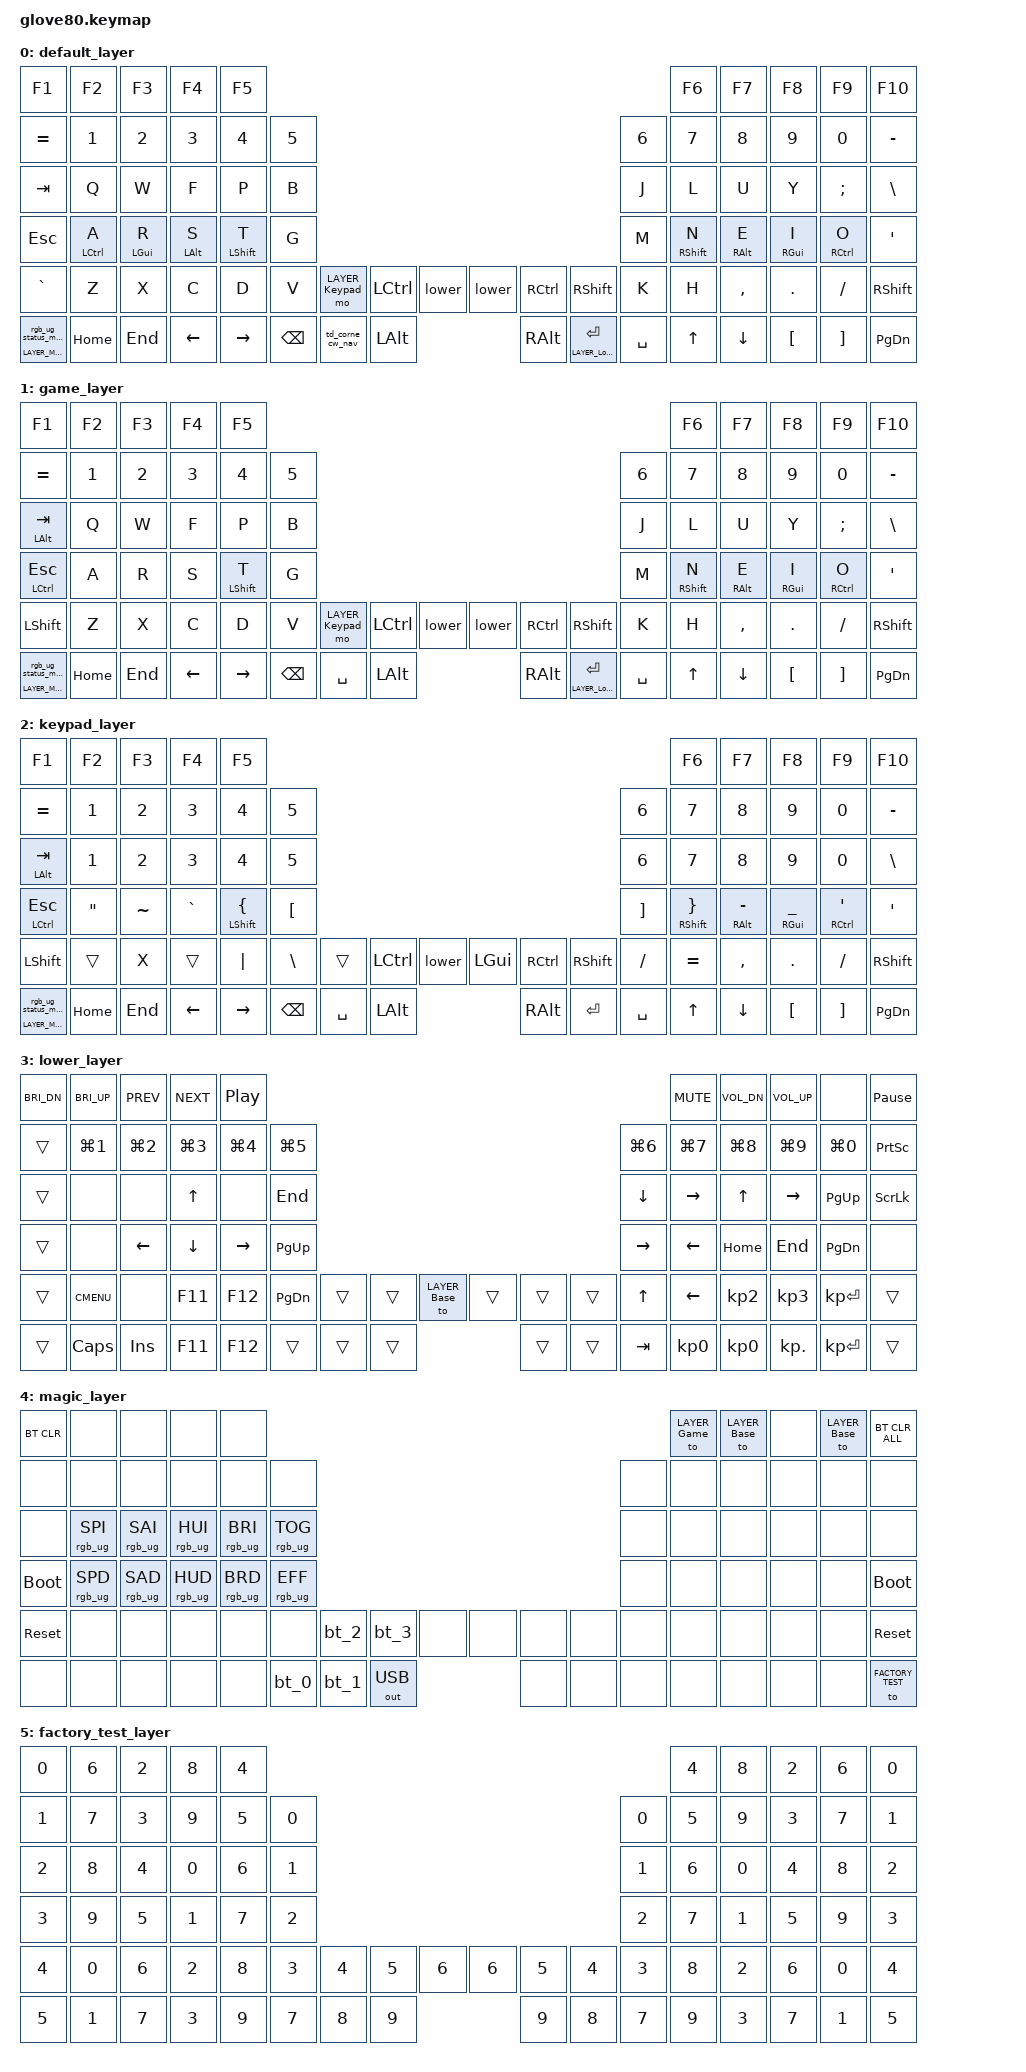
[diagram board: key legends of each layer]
/*
 * Copyright (c) 2020 The ZMK Contributors
 *
 * SPDX-License-Identifier: MIT
 */

#include <behaviors.dtsi>
#include <dt-bindings/zmk/keys.h>
#include <dt-bindings/zmk/bt.h>
#include <dt-bindings/zmk/ext_power.h>
#include <dt-bindings/zmk/outputs.h>
#include <dt-bindings/zmk/rgb.h>

#define HYPER LC(LS(LG(LALT)))

#pragma once

#define ZMK_HELPER_STRINGIFY(x) #x

// Preprocessor mechanism to overload macros, cf. https://stackoverflow.com/a/27051616/6114651
#define VARGS_(_10, _9, _8, _7, _6, _5, _4, _3, _2, _1, N, ...) N
#define VARGS(...) VARGS_(__VA_ARGS__, 10, 9, 8, 7, 6, 5, 4, 3, 2, 1, 0)
#define CONCAT_(a, b) a##b
#define CONCAT(a, b) CONCAT_(a, b)

#define ZMK_BEHAVIOR_CORE_tap_dance  \
    compatible = "zmk,behavior-tap-dance"; \
    #binding-cells = <0>

#define ZMK_BEHAVIOR(name, type, ...) \
    name: name { \
        ZMK_BEHAVIOR_CORE_ ## type; \
        __VA_ARGS__ \
    };

#define ZMK_TAP_DANCE(name, ...) \
    ZMK_BEHAVIOR(name, tap_dance, __VA_ARGS__)

#define ZMK_TD_LAYER(name, layer) \
    ZMK_TAP_DANCE(name, \
        tapping-term-ms = <200>; \
        bindings = <&mo layer>, <&to layer>; \
)

/* Environment and metadata defines */
#define KB_TYPE_GLOVE_80 1
#define KB_TYPE_GO_60    2

#define KB_TYPE          KB_TYPE_GLOVE_80
#define EDITOR_HOST_OS   'L'

/* Automatically generated layer name defines */
#define LAYER_Base 0
#define LAYER_Game 1
#define LAYER_Keypad 2
#define LAYER_Lower 3
#define LAYER_Magic 4
#define FACTORY_TEST 5
/* To deal with the situation where there is no Lower layer, to keep &lower happy */
#ifndef LAYER_Lower
#define LAYER_Lower 0
#endif

/* Custom Device-tree */


/* Input Listeners */


/* System behavior and Macros */
/ {
    behaviors {
        ZMK_TD_LAYER(lower, LAYER_Lower)
    };
};

/ {
    macros {
        rgb_ug_status_macro: rgb_ug_status_macro {
            label = "RGB_UG_STATUS";
            compatible = "zmk,behavior-macro";
            #binding-cells = <0>;
            bindings
                = <&rgb_ug RGB_STATUS>;
        };
    };
};

#define TD_HM_TAP_TERM       195
#define TD_Z_TAP_TERM        250
#define HM_TAP_TERM          180
#define HM_TAP_2_TERM        190
#define HM_TAP_3_TERM        190
#define HM_TAP_4_TERM        200
#define HM_TAP_5_TERM        250
#define HM_QUICK_TAP_TERM    150
#define HM_QUICK_TAP_2_TERM  150
#define HM_QUICK_TAP_3_TERM  150
#define HM_QUICK_TAP_4_TERM  150
#define HM_QUICK_TAP_5_TERM  150
#define HM_REQUIRE_IDLE_MS   125
#define HM_REQUIRE_IDLE_2_MS 125
#define HM_REQUIRE_IDLE_3_MS 125
#define HM_REQUIRE_IDLE_4_MS 125
#define HM_REQUIRE_IDLE_5_MS 125
#define HM_REQUIRE_IDLE_MS 125
#define TD_CW_TAP_TERM     190
#define LT_TAPPING_TERM    100

/ {
    behaviors {
        // For the "layer" key, it'd nice to be able to use it as either a shift or a toggle.
        // Configure it as a tap dance, so the first tap (or hold) is a &mo and the second tap is a &to
        layer_td: tap_dance_0 {
            compatible = "zmk,behavior-tap-dance";
            label = "LAYER_TAP_DANCE";
            #binding-cells = <0>;
            tapping-term-ms = <200>;
            bindings = <&mo LAYER_Lower>, <&to LAYER_Lower>;
        };

        magic: magic_hold_tap {
            compatible = "zmk,behavior-hold-tap";
            label = "MAGIC_HOLD_TAP";
            #binding-cells = <2>;
            flavor = "tap-preferred";
            tapping-term-ms = <200>;
            bindings = <&mo>, <&rgb_ug_status_macro>;
        };
    };

        hm: homerow_mods {
            compatible = "zmk,behavior-hold-tap";
            label = "HOMEROW_MODS";
            #binding-cells = <2>;
            tapping-term-ms = <HM_TAP_TERM>;
            quick_tap_ms = <HM_QUICK_TAP_TERM>;
            require-prior-idle-ms = <HM_REQUIRE_IDLE_MS>;
            flavor = "balanced";
            bindings = <&kp>, <&kp>;
        };
/* TODO: Fix to work with Glove80
        hml2: homerow_mods_l_2 {
            compatible = "zmk,behavior-hold-tap";
            #binding-cells = <2>;
            tapping-term-ms = <HM_TAP_2_TERM>;
            quick-tap-ms = <HM_QUICK_TAP_2_TERM>;
            require-prior-idle-ms = <HM_REQUIRE_IDLE_2_MS>;
            flavor = "balanced";
            bindings = <&kp>, <&kp>;
            hold-trigger-key-positions = <KEYS_L THUMBS>;
            hold-trigger-on-release;
        };

        hml3: homerow_mods_l_3 {
            compatible = "zmk,behavior-hold-tap";
            #binding-cells = <2>;
            tapping-term-ms = <HM_TAP_3_TERM>;
            quick-tap-ms = <HM_QUICK_TAP_3_TERM>;
            require-prior-idle-ms = <HM_REQUIRE_IDLE_3_MS>;
            flavor = "balanced";
            bindings = <&kp>, <&kp>;
            hold-trigger-key-positions = <KEYS_L THUMBS>;
            hold-trigger-on-release;
        };

        hml4: homerow_mods_l_4 {
            compatible = "zmk,behavior-hold-tap";
            #binding-cells = <2>;
            tapping-term-ms = <HM_TAP_4_TERM>;
            quick-tap-ms = <HM_QUICK_TAP_4_TERM>;
            require-prior-idle-ms = <HM_REQUIRE_IDLE_4_MS>;
            flavor = "balanced";
            bindings = <&kp>, <&kp>;
            hold-trigger-key-positions = <KEYS_L THUMBS>;
            hold-trigger-on-release;
        };

        hml5: homerow_mods_l_5 {
            compatible = "zmk,behavior-hold-tap";
            #binding-cells = <2>;
            tapping-term-ms = <HM_TAP_5_TERM>;
            quick-tap-ms = <HM_QUICK_TAP_5_TERM>;
            require-prior-idle-ms = <HM_REQUIRE_IDLE_5_MS>;
            flavor = "balanced";
            bindings = <&kp>, <&kp>;
            hold-trigger-key-positions = <KEYS_L THUMBS>;
            hold-trigger-on-release;
        };
        
        hmr2: homerow_mods_r_2 {
            compatible = "zmk,behavior-hold-tap";
            #binding-cells = <2>;
            tapping-term-ms = <HM_TAP_2_TERM>;
            quick-tap-ms = <HM_QUICK_TAP_2_TERM>;
            require-prior-idle-ms = <HM_REQUIRE_IDLE_2_MS>;
            flavor = "balanced";
            bindings = <&kp>, <&kp>;
            hold-trigger-key-positions = <KEYS_R THUMBS>;
            hold-trigger-on-release;
        };

        hmr3: homerow_mods_r_3 {
            compatible = "zmk,behavior-hold-tap";
            #binding-cells = <2>;
            tapping-term-ms = <HM_TAP_3_TERM>;
            quick-tap-ms = <HM_QUICK_TAP_3_TERM>;
            require-prior-idle-ms = <HM_REQUIRE_IDLE_3_MS>;
            flavor = "balanced";
            bindings = <&kp>, <&kp>;
            hold-trigger-key-positions = <KEYS_R THUMBS>;
            hold-trigger-on-release;
        };

        hmr4: homerow_mods_r_4 {
            compatible = "zmk,behavior-hold-tap";
            #binding-cells = <2>;
            tapping-term-ms = <HM_TAP_4_TERM>;
            quick-tap-ms = <HM_QUICK_TAP_4_TERM>;
            require-prior-idle-ms = <HM_REQUIRE_IDLE_4_MS>;
            flavor = "balanced";
            bindings = <&kp>, <&kp>;
            hold-trigger-key-positions = <KEYS_R THUMBS>;
            hold-trigger-on-release;
        };

        hmr5: homerow_mods_r_5 {
            compatible = "zmk,behavior-hold-tap";
            #binding-cells = <2>;
            tapping-term-ms = <HM_TAP_5_TERM>;
            quick-tap-ms = <HM_QUICK_TAP_5_TERM>;
            require-prior-idle-ms = <HM_REQUIRE_IDLE_5_MS>;
            flavor = "balanced";
            bindings = <&kp>, <&kp>;
            hold-trigger-key-positions = <KEYS_R THUMBS>;
            hold-trigger-on-release;
        };
*/
        td_hm_a: tap_dance_hm_a_lctrl {
            compatible = "zmk,behavior-tap-dance";
            #binding-cells = <0>;
            tapping-term-ms = <TD_HM_TAP_TERM>;
            bindings = <&hm LCTRL A>, <&kp LC(A)>;
        };

        td_hm_j: tap_dance_hm_j_shift {
            compatible = "zmk,behavior-tap-dance";
            #binding-cells = <0>;
            tapping-term-ms = <TD_HM_TAP_TERM>;
            bindings = <&hm RSHIFT J>, <&kp J>;
        };

        td_hm_k: tap_dance_hm_k_alt {
            compatible = "zmk,behavior-tap-dance";
            #binding-cells = <0>;
            tapping-term-ms = <HM_TAP_TERM>;
            bindings = <&hm RALT K>, <&kp K>;
        };

        td_hm_l: tap_dance_hm_l_gui {
            compatible = "zmk,behavior-tap-dance";
            #binding-cells = <0>;
            tapping-term-ms = <TD_HM_TAP_TERM>;
            bindings = <&hm RGUI L>, <&kp L>;
        };

        td_v: tap_dance_v_shift_v {
            compatible = "zmk,behavior-tap-dance";
            #binding-cells = <0>;
            tapping-term-ms = <TD_HM_TAP_TERM>;
            bindings = <&kp V>, <&kp LS(V)>;
        };

        td_z: tap_dance_z_ctrl_z {
            compatible = "zmk,behavior-tap-dance";
            #binding-cells = <0>;
            tapping-term-ms = <TD_Z_TAP_TERM>;
            bindings = <&lt LAYER_Keypad Z>, <&kp RC(Z)>;
        };

        td_q_esc: tap_dance_q_escape {
            compatible = "zmk,behavior-tap-dance";
            #binding-cells = <0>;
            tapping-term-ms = <TD_HM_TAP_TERM>;
            bindings = <&kp Q>, <&kp ESC>;
        };
/*
        td_qwerty: tap_dance_to_qwerty {
            compatible = "zmk,behavior-tap-dance";
            #binding-cells = <0>;
            tapping-term-ms = <TD_HM_TAP_TERM>;
            bindings = <&none>, <&to QWERTY>;
        };

        td_colemak: tap_dance_to_colemake {
            compatible = "zmk,behavior-tap-dance";
            #binding-cells = <0>;
            tapping-term-ms = <TD_HM_TAP_TERM>;
            bindings = <&kp TILDE>, <&to COLEMAK_DH>;
        };
*/

        td_corne_q: tap_dance_to_corne_qwerty {
            compatible = "zmk,behavior-tap-dance";
            #binding-cells = <0>;
            tapping-term-ms = <TD_HM_TAP_TERM>;
            bindings = <&kp GRAVE>, <&to LAYER_Game>;
        };

        td_corne_c: tap_dance_to_corne_colemak {
            compatible = "zmk,behavior-tap-dance";
            #binding-cells = <0>;
            tapping-term-ms = <TD_HM_TAP_TERM>;
            bindings = <&kp GRAVE>, <&to LAYER_Base>;
        };

        td_corne_cw_nav: tap_dance_caps_corne {
            compatible = "zmk,behavior-tap-dance";
            #binding-cells = <0>;
            tapping-term-ms = <TD_CW_TAP_TERM>;
            bindings = <&lt LAYER_Lower SPACE>, <&caps_word>;
        };
/* TODO: Get working with Glove*)
        mm_ms_u: mouse_move_scroll_up {
            compatible = "zmk,behavior-mod-morph";
            #binding-cells = <0>;
            bindings = <&mmv MOVE_UP>, <&msc SCRL_UP>;
            mods = <(MOD_LSFT|MOD_RSFT)>;
        };
        mm_ms_d: mouse_move_scroll_down {
            compatible = "zmk,behavior-mod-morph";
            #binding-cells = <0>;
            bindings = <&mmv MOVE_DOWN>, <&msc SCRL_DOWN>;
            mods = <(MOD_LSFT|MOD_RSFT)>;
        };
        mm_ms_l: mouse_move_scroll_left {
            compatible = "zmk,behavior-mod-morph";
            #binding-cells = <0>;
            bindings = <&mmv MOVE_LEFT>, <&msc SCRL_LEFT>;
            mods = <(MOD_LSFT|MOD_RSFT)>;
        };
        mm_ms_r: mouse_move_scroll_right {
            compatible = "zmk,behavior-mod-morph"; #binding-cells = <0>; bindings = <&mmv MOVE_RIGHT>, <&msc SCRL_RIGHT>; mods = <(MOD_LSFT|MOD_RSFT)>;
        };
*/
    macros {
        bt_0: bt_profile_macro_0 {
            label = "BT_0";
            compatible = "zmk,behavior-macro";
            #binding-cells = <0>;
            bindings
                = <&out OUT_BLE>,
                  <&bt BT_SEL 0>;
        };

        bt_1: bt_profile_macro_1 {
            label = "BT_1";
            compatible = "zmk,behavior-macro";
            #binding-cells = <0>;
            bindings
                = <&out OUT_BLE>,
                  <&bt BT_SEL 1>;
        };

        bt_2: bt_profile_macro_2 {
            label = "BT_2";
            compatible = "zmk,behavior-macro";
            #binding-cells = <0>;
            bindings
                = <&out OUT_BLE>,
                  <&bt BT_SEL 2>;
        };

        bt_3: bt_profile_macro_3 {
            label = "BT_3";
            compatible = "zmk,behavior-macro";
            #binding-cells = <0>;
            bindings
                = <&out OUT_BLE>,
                  <&bt BT_SEL 3>;
        };
    };

    keymap {
        compatible = "zmk,keymap";

        default_layer {

            bindings = <
            &kp F1                &kp F2         &kp F3        &kp F4        &kp F5                                                                                                                        &kp F6          &kp F7        &kp F8        &kp F9        &kp F10
            &kp EQUAL             &kp N1         &kp N2        &kp N3        &kp N4           &kp N5                                                                                               &kp N6  &kp N7          &kp N8        &kp N9        &kp N0         &kp MINUS
            &kp TAB               &kp Q          &kp W         &kp F         &kp P            &kp B                                                                                                &kp J   &kp L           &kp U         &kp Y         &kp SEMI       &kp BSLH
            &kp ESC               &hm LCTRL A    &hm LGUI R    &hm LALT S    &hm LSHIFT T     &kp G                                                                                                &kp M   &hm RSHIFT N    &hm RALT E    &hm RGUI I    &hm RCTRL O    &kp SQT
            &kp GRAVE             &kp Z          &kp X         &kp C         &kp D            &kp V    &mo LAYER_Keypad   &kp LCTRL         &lower    &lower     &kp RCTRL             &kp RSHFT   &kp K   &kp H           &kp COMMA     &kp DOT       &kp FSLH       &kp RSHIFT
            &magic LAYER_Magic 0  &kp HOME       &kp END       &kp LEFT      &kp RIGHT                 &kp BSPC           &td_corne_cw_nav  &kp LALT  &kp RALT   &lt LAYER_Lower ENTER   &kp SPACE           &kp UP          &kp DOWN      &kp LBKT      &kp RBKT       &kp PG_DN
            >;
        };

        game_layer {
            bindings = <
            &kp F1                &kp F2         &kp F3        &kp F4        &kp F5                                                                                                                    &kp F6        &kp F7       &kp F8        &kp F9        &kp F10
            &kp EQUAL             &kp N1         &kp N2        &kp N3        &kp N4           &kp N5                                                                                       &kp N6      &kp N7        &kp N8       &kp N9        &kp N0         &kp MINUS
            &hm LALT TAB          &kp Q          &kp W         &kp F         &kp P            &kp B                                                                                        &kp J       &kp L         &kp U        &kp Y         &kp SEMI       &kp BSLH
            &hm LCTRL ESC         &kp A          &kp R         &kp S         &hm LSHIFT T     &kp G                                                                                        &kp M       &hm RSHIFT N  &hm RALT E   &hm RGUI I    &hm RCTRL O    &kp SQT
            &kp LSHIFT            &kp Z          &kp X         &kp C         &kp D            &kp V    &mo LAYER_Keypad  &kp LCTRL  &lower    &lower    &kp RCTRL              &kp RSHFT   &kp K       &kp H         &kp COMMA    &kp DOT       &kp FSLH       &kp RSHIFT
            &magic LAYER_Magic 0  &kp HOME       &kp END       &kp LEFT      &kp RIGHT                 &kp BSPC          &kp SPACE  &kp LALT  &kp RALT  &lt LAYER_Lower ENTER  &kp SPACE               &kp UP        &kp DOWN     &kp LBKT      &kp RBKT       &kp PG_DN
            >;
        };
        
        keypad_layer {
            // ---------------------------------------------------------------------------------------------------------------------------------
            // |  F1   |  F2 |  F3 |  F4  |  F5  |                                                               |  F6   |  F7   |  F8  |   F9  |  F10 |
            // |  =    |  1  |  2  |  3   |  4   |  5   |                                                 |  6   |   7   |   8   |  9   |   0   |   -  |
            // |  TAB  |  Q  |  W  |  E   |  R   |  T   |                                                 |  Y   |   U   |   I   |  O   |   P   |   \  |
            // |  ESC  |  A  |  S  |  D   |  F   |  G   |                                                 |  H   |   J   |   K   |  L   |   ;   |   '  |
            // |   `   |  Z  |  X  |  C   |  V   |  B   | LSHFT | LCTRL | LOWER | | LGUI  | RCTRL | RSHFT |  N   |   M   |   ,   |  .   |   /   | PGUP |
            // | MAGIC | HOME| END | LEFT | RIGHT|      | BSPC  | DEL   | LALT  | | RALT  | RET   | SPACE |      |  UP   | DOWN  |  [   |   ]   | PGDN |

            bindings = <
            &kp F1                &kp F2         &kp F3        &kp F4        &kp F5                                                                                                  &kp F6           &kp F7          &kp F8          &kp F9          &kp F10
            &kp EQUAL             &kp N1         &kp N2        &kp N3        &kp N4           &kp N5                                                                       &kp N6    &kp N7           &kp N8          &kp N9          &kp N0         &kp MINUS
            &hm LALT TAB          &kp N1         &kp N2        &kp N3        &kp N4           &kp N5                                                                       &kp N6    &kp N7           &kp N8          &kp N9          &kp N0         &kp BSLH
            &hm LCTRL ESC         &kp DQT        &kp TILDE    &kp GRAVE      &hm LSHIFT LBRC  &kp LBKT                                                                     &kp RBKT  &hm RSHIFT RBRC  &hm RALT MINUS  &hm RGUI UNDER  &hm RCTRL SQT  &kp SQT
            &kp LSHIFT            &trans         &kp X         &trans        &kp PIPE         &kp BSLH   &trans    &kp LCTRL  &lower    &kp LGUI  &kp RCTRL  &kp RSHFT   &kp FSLH  &kp EQUAL        &kp COMMA       &kp DOT         &kp FSLH       &kp RSHIFT
            &magic LAYER_Magic 0  &kp HOME       &kp END       &kp LEFT      &kp RIGHT                   &kp BSPC  &kp SPACE  &kp LALT  &kp RALT  &kp RET    &kp SPACE             &kp UP           &kp DOWN        &kp LBKT        &kp RBKT       &kp PG_DN
            >;
        };
        
        lower_layer {
            bindings = <
            &kp C_BRI_DN      &kp C_BRI_UP        &kp C_PREV      &kp C_NEXT      &kp C_PP                                                                                                        &kp C_MUTE   &kp C_VOL_DN &kp C_VOL_UP  &none         &kp PAUSE_BREAK
            &trans            &kp LG(N1)          &kp LG(N2)      &kp LG(N3)      &kp LG(N4)      &kp LG(N5)                                                                         &kp LG(N6)   &kp LG(N7)   &kp LG(N8)   &kp LG(N9)    &kp LG(N0)    &kp  PSCRN
            &trans            &none               &none           &kp UP          &none           &kp END                                                                            &kp DOWN     &kp RIGHT    &kp UP       &kp RIGHT     &kp PG_UP     &kp SLCK
            &trans            &none               &kp LEFT        &kp DOWN        &kp RIGHT       &kp PG_UP                                                                          &kp RIGHT    &kp LEFT     &kp HOME     &kp END       &kp PG_DN     &none
            &trans            &kp K_CMENU         &none           &kp F11         &kp F12         &kp PG_DN   &trans      &trans      &to LAYER_Base &trans      &trans      &trans  &kp UP       &kp LEFT     &kp KP_N2    &kp KP_N3     &kp KP_ENTER  &trans
            &trans            &kp CAPS            &kp INS         &kp F11         &kp F12                     &trans      &trans      &trans         &trans      &trans      &kp TAB              &kp KP_N0    &kp KP_N0    &kp KP_DOT    &kp KP_ENTER  &trans
            >;
        };

        magic_layer {
            bindings = <
            &bt BT_CLR        &none               &none           &none           &none                                                                                                           &to LAYER_Game      &to LAYER_Base      &none      &to LAYER_Base      &bt BT_CLR_ALL
            &none             &none               &none           &none           &none           &none                                                                                &none      &none               &none      &none      &none      &none
            &none             &rgb_ug RGB_SPI     &rgb_ug RGB_SAI &rgb_ug RGB_HUI &rgb_ug RGB_BRI &rgb_ug RGB_TOG                                                                      &none      &none               &none      &none      &none      &none
            &bootloader       &rgb_ug RGB_SPD     &rgb_ug RGB_SAD &rgb_ug RGB_HUD &rgb_ug RGB_BRD &rgb_ug RGB_EFF                                                                      &none      &none               &none      &none      &none      &bootloader
            &sys_reset        &none               &none           &none           &none           &none           &bt_2     &bt_3     &none            &none     &none     &none       &none      &none               &none      &none      &none      &sys_reset
            &none             &none               &none           &none           &none                           &bt_0     &bt_1     &out OUT_USB     &none     &none     &none                  &none               &none      &none      &none      &to FACTORY_TEST
            >;
        };

        factory_test_layer {
            bindings = <
            &kp N0   &kp N6   &kp N2   &kp N8   &kp N4                                                                              &kp N4   &kp N8   &kp N2   &kp N6   &kp N0
            &kp N1   &kp N7   &kp N3   &kp N9   &kp N5   &kp N0                                                            &kp N0   &kp N5   &kp N9   &kp N3   &kp N7   &kp N1
            &kp N2   &kp N8   &kp N4   &kp N0   &kp N6   &kp N1                                                            &kp N1   &kp N6   &kp N0   &kp N4   &kp N8   &kp N2
            &kp N3   &kp N9   &kp N5   &kp N1   &kp N7   &kp N2                                                            &kp N2   &kp N7   &kp N1   &kp N5   &kp N9   &kp N3
            &kp N4   &kp N0   &kp N6   &kp N2   &kp N8   &kp N3   &kp N4   &kp N5   &kp N6      &kp N6   &kp N5   &kp N4   &kp N3   &kp N8   &kp N2   &kp N6   &kp N0   &kp N4
            &kp N5   &kp N1   &kp N7   &kp N3   &kp N9            &kp N7   &kp N8   &kp N9      &kp N9   &kp N8   &kp N7            &kp N9   &kp N3   &kp N7   &kp N1   &kp N5
            >;
        };
    };
};
